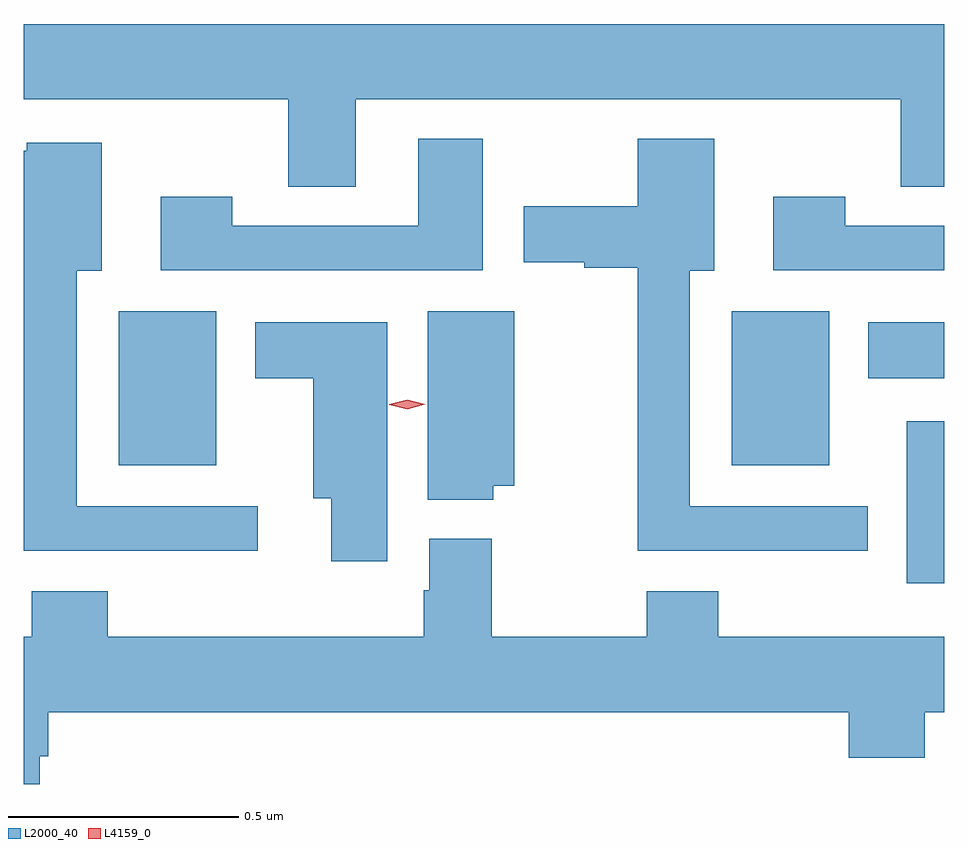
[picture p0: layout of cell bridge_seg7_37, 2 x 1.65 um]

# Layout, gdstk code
import gdstk
lib = gdstk.Library(unit=1e-6, precision=1e-09)
def R(c, l, rs):  # rectangles x0, y0, x1, y1
    for r in rs: c.add(gdstk.rectangle(r[:2], r[2:], *l))
def P(c, l, *ps):  # polygons
    for p in ps: c.add(gdstk.Polygon(p, *l))
L2000_40 = (2000, 40)
L4159_0 = (4159, 0)

bridge_seg7_37 = lib.new_cell('bridge_seg7_37')
R(bridge_seg7_37, L2000_40, [(910.979,1058.172,911.06,1058.524), (909.266,1058.429,909.478,1058.764), (910.598,1058.429,910.81,1058.764), (910.895,1058.618,911.06,1058.74)])
P(bridge_seg7_37, L2000_40, [(909.781,1059.224),(910.966,1059.224),(910.966,1059.034),(911.06,1059.034),(911.06,1059.388),(909.06,1059.388),(909.06,1059.224),(909.634,1059.224),(909.634,1059.034),(909.781,1059.034)],
  [(910.057,1059.139),(909.917,1059.139),(909.917,1058.949),(909.513,1058.949),(909.513,1059.013),(909.357,1059.013),(909.357,1058.853),(910.057,1058.853)],
  [(910.894,1058.34),(910.507,1058.34),(910.507,1058.852),(910.561,1058.852),(910.561,1059.139),(910.394,1059.139),(910.394,1058.992),(910.146,1058.992),(910.146,1058.87),(910.278,1058.87),(910.278,1058.858),(910.394,1058.858),(910.394,1058.243),(910.894,1058.243)],
  [(909.568,1058.34),(909.175,1058.34),(909.175,1058.852),(909.229,1058.852),(909.229,1059.13),(909.066,1059.13),(909.066,1059.112),(909.06,1059.112),(909.06,1058.243),(909.568,1058.243)],
  [(911.06,1058.949),(910.845,1058.949),(910.845,1059.013),(910.689,1059.013),(910.689,1058.853),(911.06,1058.853)],
  [(910.08,1058.384),(910.126,1058.384),(910.126,1058.764),(909.938,1058.764),(909.938,1058.354),(910.08,1058.354)],
  [(909.85,1058.74),(909.563,1058.74),(909.563,1058.618),(909.689,1058.618),(909.689,1058.357),(909.728,1058.357),(909.728,1058.22),(909.85,1058.22)],
  [(910.414,1058.155),(910.414,1058.056),(910.077,1058.056),(910.077,1058.269),(909.941,1058.269),(909.941,1058.157),(909.929,1058.157),(909.929,1058.056),(909.242,1058.056),(909.242,1058.155),(909.077,1058.155),(909.077,1058.056),(909.06,1058.056),(909.06,1057.736),(909.094,1057.736),(909.094,1057.796),(909.113,1057.796),(909.113,1057.892),(910.853,1057.892),(910.853,1057.793),(911.018,1057.793),(911.018,1057.892),(911.06,1057.892),(911.06,1058.056),(910.569,1058.056),(910.569,1058.155)])
P(bridge_seg7_37, L4159_0, [(909.893,1058.551),(909.854,1058.56),(909.854,1058.561),(909.854,1058.561),(909.893,1058.571),(909.932,1058.561),(909.932,1058.561),(909.932,1058.561)])

lib.write_gds('bridge_seg7_37.gds')
